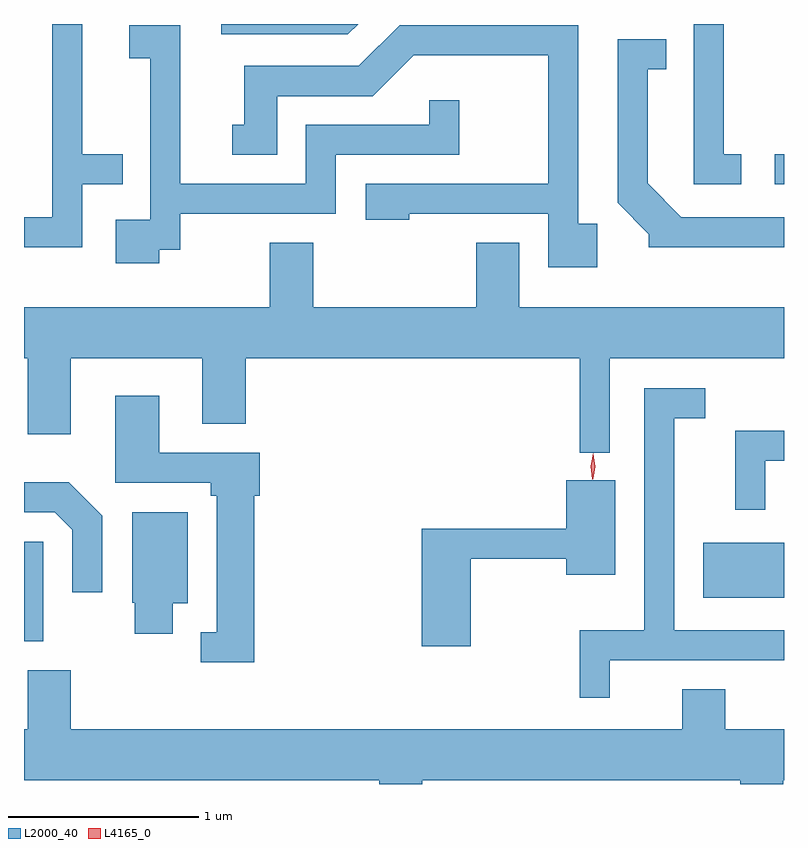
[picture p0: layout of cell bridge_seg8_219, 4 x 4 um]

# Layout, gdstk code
import gdstk
lib = gdstk.Library(unit=1e-6, precision=1e-09)
def R(c, l, rs):  # rectangles x0, y0, x1, y1
    for r in rs: c.add(gdstk.rectangle(r[:2], r[2:], *l))
def P(c, l, *ps):  # polygons
    for p in ps: c.add(gdstk.Polygon(p, *l))
L2000_40 = (2000, 40)
L4165_0 = (4165, 0)

bridge_seg8_219 = lib.new_cell('bridge_seg8_219')
R(bridge_seg8_219, L2000_40, [(1064.172,1912.626,1064.274,1913.149), (1067.746,1912.856,1068.172,1913.144), (1068.123,1915.031,1068.172,1915.189)])
P(bridge_seg8_219, L2000_40, [(1067.948,1915.189),(1067.854,1915.189),(1067.854,1915.875),(1067.696,1915.875),(1067.696,1915.031),(1067.948,1915.031)],
  [(1065.931,1915.875),(1065.211,1915.875),(1065.211,1915.821),(1065.877,1915.821)],
  [(1064.479,1915.031),(1064.693,1915.031),(1064.693,1915.189),(1064.479,1915.189),(1064.479,1915.875),(1064.321,1915.875),(1064.321,1914.859),(1064.172,1914.859),(1064.172,1914.701),(1064.479,1914.701)],
  [(1067.189,1914.824),(1067.089,1914.824),(1067.089,1915.869),(1066.149,1915.869),(1065.934,1915.654),(1065.331,1915.654),(1065.331,1915.344),(1065.268,1915.344),(1065.268,1915.186),(1065.504,1915.186),(1065.504,1915.496),(1066.007,1915.496),(1066.222,1915.711),(1066.931,1915.711),(1066.931,1915.034),(1065.971,1915.034),(1065.971,1914.846),(1066.199,1914.846),(1066.199,1914.876),(1066.931,1914.876),(1066.931,1914.596),(1067.189,1914.596)],
  [(1064.884,1914.686),(1064.994,1914.686),(1064.994,1914.876),(1065.814,1914.876),(1065.814,1915.186),(1066.464,1915.186),(1066.464,1915.473),(1066.306,1915.473),(1066.306,1915.344),(1065.656,1915.344),(1065.656,1915.034),(1064.994,1915.034),(1064.994,1915.869),(1064.726,1915.869),(1064.726,1915.696),(1064.836,1915.696),(1064.836,1914.844),(1064.656,1914.844),(1064.656,1914.616),(1064.884,1914.616)],
  [(1068.172,1914.859),(1067.632,1914.859),(1067.454,1915.037),(1067.454,1915.636),(1067.553,1915.636),(1067.553,1915.794),(1067.296,1915.794),(1067.296,1914.934),(1067.461,1914.769),(1067.461,1914.701),(1068.172,1914.701)],
  [(1067.254,1914.116),(1068.172,1914.116),(1068.172,1914.384),(1066.779,1914.384),(1066.779,1914.724),(1066.551,1914.724),(1066.551,1914.384),(1065.694,1914.384),(1065.694,1914.724),(1065.466,1914.724),(1065.466,1914.384),(1064.172,1914.384),(1064.172,1914.116),(1064.191,1914.116),(1064.191,1913.716),(1064.419,1913.716),(1064.419,1914.116),(1065.111,1914.116),(1065.111,1913.771),(1065.339,1913.771),(1065.339,1914.116),(1067.096,1914.116),(1067.096,1913.618),(1067.254,1913.618)],
  [(1067.254,1912.526),(1068.172,1912.526),(1068.172,1912.684),(1067.594,1912.684),(1067.594,1913.801),(1067.758,1913.801),(1067.758,1913.959),(1067.436,1913.959),(1067.436,1912.684),(1067.096,1912.684),(1067.096,1912.328),(1067.254,1912.328)],
  [(1065.384,1913.391),(1065.414,1913.391),(1065.414,1913.619),(1064.884,1913.619),(1064.884,1913.919),(1064.651,1913.919),(1064.651,1913.461),(1065.156,1913.461),(1065.156,1913.391),(1065.186,1913.391),(1065.186,1912.674),(1065.103,1912.674),(1065.103,1912.516),(1065.384,1912.516)],
  [(1068.074,1913.576),(1068.172,1913.576),(1068.172,1913.734),(1067.916,1913.734),(1067.916,1913.318),(1068.074,1913.318)],
  [(1066.524,1913.061),(1067.026,1913.061),(1067.026,1912.976),(1067.284,1912.976),(1067.284,1913.474),(1067.026,1913.474),(1067.026,1913.219),(1066.266,1913.219),(1066.266,1912.601),(1066.524,1912.601)],
  [(1064.584,1913.287),(1064.407,1913.464),(1064.172,1913.464),(1064.172,1913.306),(1064.334,1913.306),(1064.426,1913.214),(1064.426,1912.883),(1064.584,1912.883)],
  [(1064.954,1912.826),(1065.034,1912.826),(1065.034,1913.304),(1064.741,1913.304),(1064.741,1912.83),(1064.756,1912.83),(1064.756,1912.666),(1064.954,1912.666)],
  [(1066.269,1911.896),(1067.941,1911.896),(1067.941,1911.875),(1068.169,1911.875),(1068.169,1911.896),(1068.172,1911.896),(1068.172,1912.164),(1067.864,1912.164),(1067.864,1912.374),(1067.636,1912.374),(1067.636,1912.164),(1064.419,1912.164),(1064.419,1912.474),(1064.191,1912.474),(1064.191,1912.164),(1064.172,1912.164),(1064.172,1911.896),(1066.041,1911.896),(1066.041,1911.875),(1066.269,1911.875)])
P(bridge_seg8_219, L4165_0, [(1067.166,1913.48),(1067.166,1913.481),(1067.158,1913.546),(1067.168,1913.611),(1067.169,1913.612),(1067.169,1913.611),(1067.178,1913.546),(1067.167,1913.481)],
  [(1067.164,1913.478),(1067.164,1913.478),(1067.156,1913.547),(1067.168,1913.615),(1067.169,1913.615),(1067.169,1913.615),(1067.176,1913.546),(1067.164,1913.478)])

lib.write_gds('bridge_seg8_219.gds')
